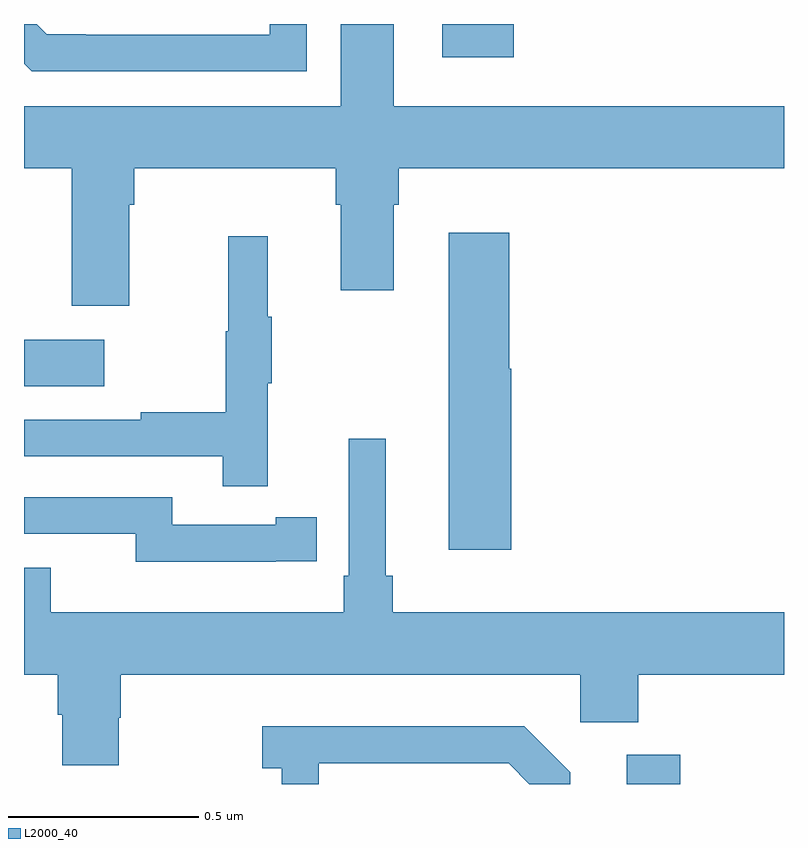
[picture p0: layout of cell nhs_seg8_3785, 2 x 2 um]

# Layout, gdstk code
import gdstk
lib = gdstk.Library(unit=1e-6, precision=1e-09)
def R(c, l, rs):  # rectangles x0, y0, x1, y1
    for r in rs: c.add(gdstk.rectangle(r[:2], r[2:], *l))
def P(c, l, *ps):  # polygons
    for p in ps: c.add(gdstk.Polygon(p, *l))
L2000_40 = (2000, 40)

nhs_seg8_3785 = lib.new_cell('nhs_seg8_3785')
R(nhs_seg8_3785, L2000_40, [(163.586,1094.9,163.727,1094.977), (162,1095.947,162.211,1096.069), (163.101,1096.812,163.289,1096.9)])
P(nhs_seg8_3785, L2000_40, [(162.277,1096.424),(162.29,1096.424),(162.29,1096.52),(162.821,1096.52),(162.821,1096.424),(162.833,1096.424),(162.833,1096.2),(162.973,1096.2),(162.973,1096.424),(162.986,1096.424),(162.986,1096.52),(164,1096.52),(164,1096.684),(162.973,1096.684),(162.973,1096.9),(162.833,1096.9),(162.833,1096.684),(162,1096.684),(162,1096.52),(162.125,1096.52),(162.125,1096.158),(162.277,1096.158)],
  [(162.744,1096.9),(162.647,1096.9),(162.647,1096.872),(162.163,1096.872),(162.163,1096.873),(162.06,1096.873),(162.033,1096.9),(162,1096.9),(162,1096.796),(162.02,1096.776),(162.744,1096.776)],
  [(163.282,1095.993),(163.277,1095.993),(163.277,1096.351),(163.118,1096.351),(163.118,1095.516),(163.282,1095.516)],
  [(162.641,1095.955),(162.652,1095.955),(162.652,1096.129),(162.641,1096.129),(162.641,1096.342),(162.538,1096.342),(162.538,1096.092),(162.531,1096.092),(162.531,1095.878),(162.307,1095.878),(162.307,1095.858),(162,1095.858),(162,1095.762),(162.523,1095.762),(162.523,1095.684),(162.641,1095.684)],
  [(162.249,1095.075),(162.254,1095.075),(162.254,1095.188),(163.464,1095.188),(163.464,1095.062),(163.616,1095.062),(163.616,1095.188),(164,1095.188),(164,1095.352),(162.971,1095.352),(162.971,1095.448),(162.952,1095.448),(162.952,1095.808),(162.855,1095.808),(162.855,1095.448),(162.842,1095.448),(162.842,1095.352),(162.07,1095.352),(162.07,1095.469),(162,1095.469),(162,1095.188),(162.089,1095.188),(162.089,1095.082),(162.101,1095.082),(162.101,1094.95),(162.249,1094.95)],
  [(162.662,1095.486),(162.77,1095.486),(162.77,1095.602),(162.662,1095.602),(162.662,1095.582),(162.39,1095.582),(162.39,1095.654),(162,1095.654),(162,1095.558),(162.294,1095.558),(162.294,1095.485),(162.662,1095.485)],
  [(162.775,1094.955),(163.275,1094.955),(163.33,1094.9),(163.437,1094.9),(163.437,1094.931),(163.316,1095.052),(162.627,1095.052),(162.627,1094.942),(162.678,1094.942),(162.678,1094.9),(162.775,1094.9)])

lib.write_gds('nhs_seg8_3785.gds')
